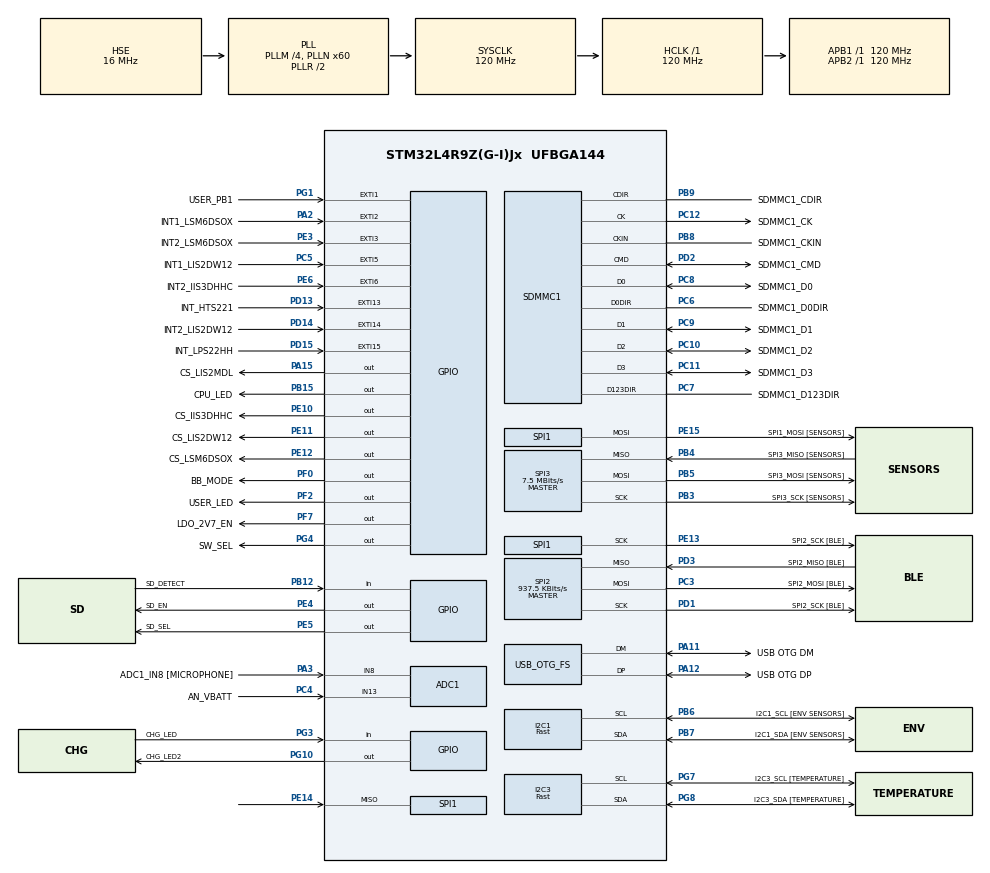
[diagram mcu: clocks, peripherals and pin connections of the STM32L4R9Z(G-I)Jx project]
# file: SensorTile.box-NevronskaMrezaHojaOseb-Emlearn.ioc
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ADC1.Channel-0\#ChannelRegularConversion=ADC_CHANNEL_8
ADC1.ContinuousConvMode=ENABLE
ADC1.EnableInjectedConversion=ENABLE
ADC1.NbrOfConversion=1
ADC1.NbrOfConversionFlag=1
ADC1.OffsetNumber-0\#ChannelRegularConversion=ADC_OFFSET_NONE
ADC1.Overrun=ADC_OVR_DATA_OVERWRITTEN
ADC1.OversamplingMode=DISABLE
ADC1.Rank-0\#ChannelRegularConversion=1
ADC1.SamplingTime-0\#ChannelRegularConversion=ADC_SAMPLETIME_12CYCLES_5
ADC1.master=1
DFSDM1.DmaMode_reg_FIL0=ENABLE
DFSDM1.FastMode_reg_FIL0=ENABLE
DFSDM1.Filter_injChannel0_FIL0=__NULL
DFSDM1.Filter_regChannel_FIL0=DFSDM_CHANNEL_0
DFSDM1.Fosr_FIL0=192
DFSDM1.Multiplexer_internal_CH0=DFSDM_CHANNEL_ADC_OUTPUT
DFSDM1.RightBitShift_CH0=7
DFSDM1.SincOrder_FIL0=DFSDM_FILTER_SINC2_ORDER
Dma.DFSDM1_FLT0.0.Direction=DMA_PERIPH_TO_MEMORY
Dma.DFSDM1_FLT0.0.EventEnable=DISABLE
Dma.DFSDM1_FLT0.0.Instance=DMA1_Channel4
Dma.DFSDM1_FLT0.0.MemDataAlignment=DMA_MDATAALIGN_WORD
Dma.DFSDM1_FLT0.0.MemInc=DMA_MINC_ENABLE
Dma.DFSDM1_FLT0.0.Mode=DMA_CIRCULAR
Dma.DFSDM1_FLT0.0.PeriphDataAlignment=DMA_PDATAALIGN_WORD
Dma.DFSDM1_FLT0.0.PeriphInc=DMA_PINC_DISABLE
Dma.DFSDM1_FLT0.0.Polarity=HAL_DMAMUX_REQUEST_GEN_RISING
Dma.DFSDM1_FLT0.0.Priority=DMA_PRIORITY_HIGH
Dma.DFSDM1_FLT0.0.RequestNumber=1
Dma.DFSDM1_FLT0.0.SignalID=NONE
Dma.DFSDM1_FLT0.0.SyncEnable=DISABLE
Dma.DFSDM1_FLT0.0.SyncPolarity=HAL_DMAMUX_SYNC_NO_EVENT
Dma.DFSDM1_FLT0.0.SyncRequestNumber=1
Dma.DFSDM1_FLT0.0.SyncSignalID=NONE
Dma.Request0=DFSDM1_FLT0
FATFS.BSP.number=1
FATFS.USE_DMA_CODE_SD=1
FATFS._FS_NORTC=0
FATFS._USE_LFN=3
FATFS0.BSP.STBoard=false
FATFS0.BSP.api=Unknown
FATFS0.BSP.instance=PB12
FATFS0.BSP.ip=GPIO
FATFS0.BSP.mode=Input
FATFS0.BSP.name=Detect_SDIO
FATFS0.BSP.solution=PB12
I2C1.I2C_Speed_Mode=I2C_Fast
I2C1.Timing=0x00B03FDB
I2C3.I2C_Speed_Mode=I2C_Fast
I2C3.Timing=0x00B03FDB
Mcu.Family=STM32L4
Mcu.Name=STM32L4R9Z(G-I)Jx
Mcu.Package=UFBGA144
NVIC.DMA1_Channel4_IRQn=true\:0\:0\:false\:false\:true\:false\:true\:true
NVIC.OTG_FS_IRQn=true\:0\:0\:false\:false\:true\:false\:true\:true
NVIC.PriorityGroup=NVIC_PRIORITYGROUP_4
NVIC.SDMMC1_IRQn=true\:0\:0\:false\:false\:true\:true\:true\:true
NVIC.TIM6_DAC_IRQn=true\:0\:0\:false\:false\:true\:true\:true\:true
PA11.GPIO_Label=USB OTG DM
PA11.Mode=Device_Only
PA11.Signal=USB_OTG_FS_DM
PA12.GPIO_Label=USB OTG DP
PA12.Mode=Device_Only
PA12.Signal=USB_OTG_FS_DP
PA15\ (JTDI).GPIO_Label=CS_LIS2MDL
PA15\ (JTDI).GPIO_ModeDefaultOutputPP=GPIO_MODE_OUTPUT_OD
PA15\ (JTDI).GPIO_Speed=GPIO_SPEED_FREQ_VERY_HIGH
PA15\ (JTDI).PinState=GPIO_PIN_SET
PA15\ (JTDI).Signal=GPIO_Output
PA2.GPIO_Label=INT1_LSM6DSOX
PA2.Signal=GPXTI2
PA3.GPIO_Label=ADC1_IN8 [MICROPHONE]
PA3.Signal=ADCx_IN8
PB12.GPIO_Label=SD_DETECT
PB12.Signal=GPIO_Input
PB15.GPIO_Label=CPU_LED
PB15.Signal=GPIO_Output
PB3\ (JTDO/TRACESWO).GPIO_Label=SPI3_SCK [SENSORS]
PB3\ (JTDO/TRACESWO).GPIO_PuPd=GPIO_PULLUP
PB3\ (JTDO/TRACESWO).Mode=Full_Duplex_Master
PB3\ (JTDO/TRACESWO).Signal=SPI3_SCK
PB4\ (NJTRST).GPIO_Label=SPI3_MISO [SENSORS]
PB4\ (NJTRST).Mode=Full_Duplex_Master
PB4\ (NJTRST).Signal=SPI3_MISO
PB5.GPIO_Label=SPI3_MOSI [SENSORS]
PB5.Mode=Full_Duplex_Master
PB5.Signal=SPI3_MOSI
PB6.GPIO_Label=I2C1_SCL [ENV SENSORS]
PB6.GPIO_Pu=GPIO_PULLUP
PB6.Mode=I2C
PB6.Signal=I2C1_SCL
PB7.GPIO_Label=I2C1_SDA [ENV SENSORS]
PB7.GPIO_Pu=GPIO_PULLUP
PB7.Mode=I2C
PB7.Signal=I2C1_SDA
PB8.GPIO_Label=SDMMC1_CKIN
PB8.Mode=SD_4_bits_Wide_bus_dir_voltage_converter
PB8.Signal=SDMMC1_CKIN
PB9.GPIO_Label=SDMMC1_CDIR
PB9.Mode=SD_4_bits_Wide_bus_dir_voltage_converter
PB9.Signal=SDMMC1_CDIR
PC10.GPIO_Label=SDMMC1_D2
PC10.Mode=SD_4_bits_Wide_bus_dir_voltage_converter
PC10.Signal=SDMMC1_D2
PC11.GPIO_Label=SDMMC1_D3
PC11.Mode=SD_4_bits_Wide_bus_dir_voltage_converter
PC11.Signal=SDMMC1_D3
PC12.GPIO_Label=SDMMC1_CK
PC12.Mode=SD_4_bits_Wide_bus_dir_voltage_converter
PC12.Signal=SDMMC1_CK
PC14-OSC32_IN\ (PC14).GPIO_Label=RCC_OSC32_IN
PC14-OSC32_IN\ (PC14).Mode=LSE-External-Oscillator
PC14-OSC32_IN\ (PC14).Signal=RCC_OSC32_IN
PC15-OSC32_OUT\ (PC15).GPIO_Label=RCC-OSC32_OUT
PC15-OSC32_OUT\ (PC15).Mode=LSE-External-Oscillator
PC15-OSC32_OUT\ (PC15).Signal=RCC_OSC32_OUT
PC3.GPIO_Label=SPI2_MOSI [BLE]
PC3.Mode=Full_Duplex_Master
PC3.Signal=SPI2_MOSI
PC4.GPIO_Label=AN_VBATT
PC4.Signal=ADCx_IN13
PC5.GPIO_Label=INT1_LIS2DW12
PC5.Signal=GPXTI5
PC6.GPIO_Label=SDMMC1_D0DIR
PC6.Mode=SD_4_bits_Wide_bus_dir_voltage_converter
PC6.Signal=SDMMC1_D0DIR
PC7.GPIO_Label=SDMMC1_D123DIR
PC7.Mode=SD_4_bits_Wide_bus_dir_voltage_converter
PC7.Signal=SDMMC1_D123DIR
PC8.GPIO_Label=SDMMC1_D0
PC8.Mode=SD_4_bits_Wide_bus_dir_voltage_converter
PC8.Signal=SDMMC1_D0
PC9.GPIO_Label=SDMMC1_D1
PC9.Mode=SD_4_bits_Wide_bus_dir_voltage_converter
PC9.Signal=SDMMC1_D1
PD1.GPIO_Label=SPI2_SCK [BLE]
PD1.Mode=Full_Duplex_Master
PD1.Signal=SPI2_SCK
PD13.GPIO_Label=INT_HTS221
PD13.Signal=GPXTI13
PD14.GPIO_Label=INT2_LIS2DW12
PD14.Signal=GPXTI14
PD15.GPIO_Label=INT_LPS22HH
PD15.Signal=GPXTI15
PD2.GPIO_Label=SDMMC1_CMD
PD2.Mode=SD_4_bits_Wide_bus_dir_voltage_converter
PD2.Signal=SDMMC1_CMD
PD3.GPIO_Label=SPI2_MISO [BLE]
PD3.Mode=Full_Duplex_Master
PD3.Signal=SPI2_MISO
PD5.GPIO_Label=USART2_TX [SERIAL PORT]
PD5.Signal=USART2_TX
PD6.GPIO_Label=USART2_RX [SERIAL PORT]
PD6.Signal=USART2_RX
PE10.GPIO_Label=CS_IIS3DHHC
PE10.GPIO_ModeDefaultOutputPP=GPIO_MODE_OUTPUT_OD
PE10.GPIO_Speed=GPIO_SPEED_FREQ_VERY_HIGH
PE10.PinState=GPIO_PIN_SET
PE10.Signal=GPIO_Output
PE11.GPIO_Label=CS_LIS2DW12
PE11.GPIO_ModeDefaultOutputPP=GPIO_MODE_OUTPUT_OD
PE11.GPIO_Speed=GPIO_SPEED_FREQ_VERY_HIGH
PE11.PinState=GPIO_PIN_SET
PE11.Signal=GPIO_Output
PE12.GPIO_Label=CS_LSM6DSOX
PE12.GPIO_ModeDefaultOutputPP=GPIO_MODE_OUTPUT_OD
PE12.GPIO_Speed=GPIO_SPEED_FREQ_VERY_HIGH
PE12.PinState=GPIO_PIN_SET
PE12.Signal=GPIO_Output
PE13.GPIO_Label=SPI2_SCK [BLE]
PE13.GPIO_PuPd=GPIO_PULLUP
PE13.Mode=Full_Duplex_Master
PE13.Signal=SPI1_SCK
PE14.Mode=Full_Duplex_Master
PE14.Signal=SPI1_MISO
PE15.GPIO_Label=SPI1_MOSI [SENSORS]
PE15.Mode=Full_Duplex_Master
PE15.Signal=SPI1_MOSI
PE3.GPIO_Label=INT2_LSM6DSOX
PE3.Signal=GPXTI3
PE4.GPIO_Label=SD_EN
PE4.PinState=GPIO_PIN_SET
PE4.Signal=GPIO_Output
PE5.GPIO_Label=SD_SEL
PE5.PinState=GPIO_PIN_SET
PE5.Signal=GPIO_Output
PE6.GPIO_Label=INT2_IIS3DHHC
PE6.Signal=GPXTI6
PF0.GPIO_Label=BB_MODE
PF0.PinState=GPIO_PIN_RESET
PF0.Signal=GPIO_Output
PF2.GPIO_Label=USER_LED
PF2.GPIO_ModeDefaultOutputPP=GPIO_MODE_OUTPUT_PP
PF2.Signal=GPIO_Output
PF7.GPIO_Label=LDO_2V7_EN
PF7.PinState=GPIO_PIN_SET
PF7.Signal=GPIO_Output
PG1.GPIO_Label=USER_PB1
PG1.GPIO_ModeDefaultEXTI=GPIO_MODE_IT_FALLING
PG1.Signal=GPXTI1
PG10.GPIO_Label=CHG_LED2
PG10.PinState=GPIO_PIN_SET
PG10.Signal=GPIO_Output
PG3.GPIO_Label=CHG_LED
PG3.Signal=GPIO_Input
PG4.GPIO_Label=SW_SEL
PG4.Signal=GPIO_Output
PG7.GPIO_Label=I2C3_SCL [TEMPERATURE]
PG7.GPIO_Pu=GPIO_PULLUP
PG7.Mode=I2C
PG7.Signal=I2C3_SCL
PG8.GPIO_Label=I2C3_SDA [TEMPERATURE]
PG8.GPIO_Pu=GPIO_PULLUP
PG8.Mode=I2C
PG8.Signal=I2C3_SDA
PH0-OSC_IN\ (PH0).GPIO_Label=RCC_OSC_IN
PH0-OSC_IN\ (PH0).Mode=HSE-External-Oscillator
PH0-OSC_IN\ (PH0).Signal=RCC_OSC_IN
PH1-OSC_OUT\ (PH1).GPIO_Label=RCC_OSC_OUT
PH1-OSC_OUT\ (PH1).Mode=HSE-External-Oscillator
PH1-OSC_OUT\ (PH1).Signal=RCC_OSC_OUT
ProjectManager.HeapSize=0x200
ProjectManager.StackSize=0x400
ProjectManager.TargetToolchain=STM32CubeIDE
RCC.ADCFreq_Value=76800000
RCC.AHBFreq_Value=120000000
RCC.APB1Freq_Value=120000000
RCC.APB1TimFreq_Value=120000000
RCC.APB2Freq_Value=120000000
RCC.APB2TimFreq_Value=120000000
RCC.CK48CLockSelection=RCC_USBCLKSOURCE_HSI48
RCC.CortexFreq_Value=120000000
RCC.HCLKFreq_Value=120000000
RCC.HSE_VALUE=16000000
RCC.HSI48_VALUE=48000000
RCC.HSI_VALUE=16000000
RCC.MSI_VALUE=4000000
RCC.PLLM1=4
RCC.PLLM2=5
RCC.PLLN=60
RCC.PLLP=RCC_PLLP_DIV5
RCC.PLLSAI1N=96
RCC.PLLSAI1Q=RCC_PLLQ_DIV4
RCC.PLLSAI1R=RCC_PLLR_DIV4
RCC.PLLSourceVirtual=RCC_PLLSOURCE_HSE
RCC.RTCClockSelection=RCC_RTCCLKSOURCE_LSE
RCC.SYSCLKFreq_VALUE=120000000
RCC.SYSCLKSource=RCC_SYSCLKSOURCE_PLLCLK
RCC.USBFreq_Value=48000000
RCC.VCOOutputFreq_Value=240000000
RTC.Date=3
RTC.Format=RTC_FORMAT_BIN
RTC.Month=RTC_MONTH_APRIL
RTC.WeekDay=RTC_WEEKDAY_TUESDAY
RTC.Year=20
SH.ADCx_IN13.0=ADC1_IN13,IN13-Single-Ended
SH.ADCx_IN8.0=ADC1_IN8,IN8-Single-Ended
SPI1.BaudRatePrescaler=SPI_BAUDRATEPRESCALER_16
SPI1.CLKPhase=SPI_PHASE_2EDGE
SPI1.CLKPolarity=SPI_POLARITY_HIGH
SPI1.CalculateBaudRate=7.5 MBits/s
SPI1.DataSize=SPI_DATASIZE_8BIT
SPI1.Direction=SPI_DIRECTION_2LINES
SPI1.Mode=SPI_MODE_MASTER
SPI1.VirtualType=VM_MASTER
SPI2.BaudRatePrescaler=SPI_BAUDRATEPRESCALER_128
SPI2.CLKPhase=SPI_PHASE_2EDGE
SPI2.CalculateBaudRate=937.5 KBits/s
SPI2.DataSize=SPI_DATASIZE_8BIT
SPI2.Direction=SPI_DIRECTION_2LINES
SPI2.Mode=SPI_MODE_MASTER
SPI2.VirtualType=VM_MASTER
SPI3.BaudRatePrescaler=SPI_BAUDRATEPRESCALER_16
SPI3.CLKPhase=SPI_PHASE_2EDGE
SPI3.CLKPolarity=SPI_POLARITY_HIGH
SPI3.CalculateBaudRate=7.5 MBits/s
SPI3.DataSize=SPI_DATASIZE_8BIT
SPI3.Direction=SPI_DIRECTION_2LINES
SPI3.Mode=SPI_MODE_MASTER
SPI3.VirtualType=VM_MASTER
TIM2.Period=0xFFFFFFFF
TIM2.Prescaler=119
TIM6.Period=1000
TIM6.Prescaler=119
TIM7.Period=0xFFFF
TIM7.Prescaler=119
USB_DEVICE.CLASS_NAME_FS=CDC
USB_DEVICE.VirtualMode=Cdc
USB_DEVICE.VirtualModeFS=Cdc_FS
USB_OTG_FS.VirtualMode=Device_Only
USB_OTG_FS.battery_charging_enable=ENABLE
USB_OTG_FS.use_dedicated_ep1=DISABLE
VP_DFSDM1_VS_IN0.Mode=Parallel_Input_ch0
VP_FATFS_VS_SDIO.Mode=SDIO
VP_RTC_VS_RTC_Activate.Mode=RTC_Enabled
VP_RTC_VS_RTC_Calendar.Mode=RTC_Calendar
VP_TIM2_VS_ClockSourceINT.Mode=Internal
VP_TIM6_VS_ClockSourceINT.Mode=Enable_Timer
VP_TIM7_VS_ClockSourceINT.Mode=Enable_Timer
VP_USB_DEVICE_VS_USB_DEVICE_CDC_FS.Mode=CDC_FS
board=STEVAL-MKSBOX1V1

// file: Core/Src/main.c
/* USER CODE BEGIN Header */
/**
  ******************************************************************************
  * @file           : main.c
  * @brief          : Main program body
  ******************************************************************************
  * @attention
  *
  * Copyright (c) 2023 STMicroelectronics.
  * All rights reserved.
  *
  * This software is licensed under terms that can be found in the LICENSE file
  * in the root directory of this software component.
  * If no LICENSE file comes with this software, it is provided AS-IS.
  *
  ******************************************************************************
  */
/* USER CODE END Header */
#include "main.h"
#include "fatfs.h"
#include "usb_device.h"

/* USER CODE BEGIN Includes */
#include "nevronskaMreza_HojaOseb.h"

#include "math.h"
#include "fatfs.h"
#include "ff.h"

#define BUFSIZE 256
char	SendBuffer[BUFSIZE];

uint8_t windowLength = 104;
uint8_t windowOverlap = 52;

float bufAccX[104];
float bufAccY[104];
float bufAccZ[104];
float bufAccMagnitude[104];

float accX_Mean;
float accX_STD;
float accX_MinMax;
float accX_RMS;
float accY_Mean;
float accY_STD;
float accY_MinMax;
float accY_RMS;
float accZ_Mean;
float accZ_STD;
float accZ_MinMax;
float accZ_RMS;
float accMagnitude_Mean;
float accMagnitude_STD;
float accMagnitude_MinMax;
float accMagnitude_RMS;

int buf_len = 0;

#define LSM6DSOX_ACC_SENSITIVITY_FS_4G   0.122f
//#define LSM6DSOX_ACC_SENSITIVITY_FS_2G   0.061f

	  uint8_t indata[2];
	  uint8_t outdata[2] = {0,0};
	  uint8_t lis_id;
	  uint8_t newValueAvailable = 0;

	  uint8_t AccelX1;
	  uint8_t AccelY1;
	  uint8_t AccelZ1;
	  uint8_t AccelX2;
	  uint8_t AccelY2;
	  uint8_t AccelZ2;

	  const char* classes[5] = {
	  			  "jaz", "mami", "mirovanje", "sestra", "vati"
	  	  };

	  FRESULT res; /* FatFs function common result code */
	  	  uint32_t byteswritten, bytesread; /* File write/read counts */
	  	  uint8_t wtext[BUFSIZE] = "Podatki: \r\n"; /* File write buffer */
	  	  uint8_t rtext[_MAX_SS];/* File read buffer */

	  	  char errorValue[20] = "Ni problema";
	  	  uint8_t countOutput = 0;

float accMagnitude(float accX, float accY, float accZ);
/* USER CODE END Includes */

ADC_HandleTypeDef hadc1;

DFSDM_Filter_HandleTypeDef hdfsdm1_filter0;
DFSDM_Channel_HandleTypeDef hdfsdm1_channel0;
DMA_HandleTypeDef hdma_dfsdm1_flt0;

I2C_HandleTypeDef hi2c1;
I2C_HandleTypeDef hi2c3;

RTC_HandleTypeDef hrtc;

SD_HandleTypeDef hsd1;

SPI_HandleTypeDef hspi1;
SPI_HandleTypeDef hspi2;
SPI_HandleTypeDef hspi3;

TIM_HandleTypeDef htim2;
TIM_HandleTypeDef htim6;
TIM_HandleTypeDef htim7;

void SystemClock_Config(void);
static void MX_GPIO_Init(void);
static void MX_DMA_Init(void);
static void MX_ADC1_Init(void);
static void MX_DFSDM1_Init(void);
static void MX_I2C1_Init(void);
static void MX_I2C3_Init(void);
static void MX_RTC_Init(void);
static void MX_SDMMC1_SD_Init(void);
static void MX_SPI1_Init(void);
static void MX_SPI2_Init(void);
static void MX_SPI3_Init(void);
static void MX_TIM2_Init(void);
static void MX_TIM6_Init(void);
static void MX_TIM7_Init(void);

int main(void)
{

  /* MCU Configuration--------------------------------------------------------*/

  /* Reset of all peripherals, Initializes the Flash interface and the Systick. */
  HAL_Init();

  /* Configure the system clock */
  SystemClock_Config();

  /* Initialize all configured peripherals */
  MX_GPIO_Init();
  MX_DMA_Init();
  MX_ADC1_Init();
  MX_DFSDM1_Init();
  MX_I2C1_Init();
  MX_I2C3_Init();
  MX_RTC_Init();
  MX_SDMMC1_SD_Init();
  MX_SPI1_Init();
  MX_SPI2_Init();
  MX_SPI3_Init();
  MX_TIM2_Init();
  MX_TIM6_Init();
  MX_TIM7_Init();
  MX_FATFS_Init();
  MX_USB_DEVICE_Init();

  /* Infinite loop */
  /* USER CODE BEGIN WHILE */

  // sensor setup (activation and setting frequency)
  		    HAL_GPIO_WritePin(GPIOE, GPIO_PIN_12, GPIO_PIN_RESET);

  		    outdata[0] = 0x10 ; // register used for setting up the accelerometer
  		    outdata[1] = 0x48 ;//0x4a ;//0x40 ; // set frequency to 104Hz and FS to 4g
  		    HAL_SPI_TransmitReceive(&hspi1, &outdata, &indata, 2, HAL_MAX_DELAY);

  		    HAL_GPIO_WritePin(GPIOE, GPIO_PIN_12, GPIO_PIN_SET);

  		    outdata[0] = 0x15 | 0x80 ; // read CTRL6_C
  		    HAL_GPIO_WritePin(GPIOE, GPIO_PIN_12, GPIO_PIN_RESET);
  		    HAL_SPI_TransmitReceive(&hspi1, &outdata, &indata, 2, HAL_MAX_DELAY);
  		    uint8_t existingValue = indata[1];
  		    HAL_GPIO_WritePin(GPIOE, GPIO_PIN_12, GPIO_PIN_SET);

  		    HAL_GPIO_WritePin(GPIOE, GPIO_PIN_12, GPIO_PIN_RESET);
  		    outdata[0] = 0x15 ; // write to register CTRL6_C
  		    outdata[1] = existingValue | 0x10 ; //disable high performance
  		    HAL_SPI_TransmitReceive(&hspi1, &outdata, &indata, 2, HAL_MAX_DELAY);
  		    HAL_GPIO_WritePin(GPIOE, GPIO_PIN_12, GPIO_PIN_SET);

  		    ///////////////////////////////////////////////////////////////////SD card
  		    if(f_mount(&SDFatFS, (TCHAR const*)SDPath, 0) != FR_OK)
  		    {
  		    	//Error_Handler();
  		    	snprintf(SendBuffer,BUFSIZE,"Error1 \r\n");
  		    	CDC_Transmit_FS(SendBuffer,strlen(SendBuffer));
  		    	strcpy(errorValue, "Error1 \r\n");
  		    }
  		    else
  		    {
  		    	if(f_mkfs((TCHAR const*)SDPath, FM_ANY, 0, rtext, sizeof(rtext)) != FR_OK)
  		        {
  		    		//Error_Handler();
  		    		snprintf(SendBuffer,BUFSIZE,"Error2 \r\n");
  		    		CDC_Transmit_FS(SendBuffer,strlen(SendBuffer));

  		    		FRESULT errorState = f_mkfs((TCHAR const*)SDPath, FM_ANY, 0, rtext, sizeof(rtext));

  		    		//strcpy(errorValue, "Error2 \r\n");
  		    		snprintf(errorValue, 20, "Error2 [%d]\r\n", errorState);
  		        }
  		    	else
  		    	{
  		    		//Open file for writing (Create)
  		    		if(f_open(&SDFile, "Podatki.TXT", FA_CREATE_ALWAYS | FA_WRITE) != FR_OK)
  		    		{
  		    			//Error_Handler();
  		    			snprintf(SendBuffer,BUFSIZE,"Error3 \r\n");
  		    			CDC_Transmit_FS(SendBuffer,strlen(SendBuffer));
  		    			strcpy(errorValue, "Error3 \r\n");
  		    		}
  		    		else
  		    		{

  		    			//Write to the text file
  		    			res = f_write(&SDFile, wtext, strlen((char *)wtext), (void *)&byteswritten);
  		    			if((byteswritten == 0) || (res != FR_OK))
  		    			{
  		    				//Error_Handler();
  		    				snprintf(SendBuffer,BUFSIZE,"Error4 \r\n");
  		    				CDC_Transmit_FS(SendBuffer,strlen(SendBuffer));
  		    				strcpy(errorValue, "Error4 \r\n");
  		    			}
  		    			else
  		    			{

  		    				f_close(&SDFile);
  		    			}
  		    		}
  		    	}
  		    }
  		    //f_mount(&SDFatFS, (TCHAR const*)NULL, 0);

  		    f_mount(&SDFatFS, (TCHAR const*)SDPath, 0);
  		    //f_open(&SDFile, "Podatki.TXT", FA_OPEN_APPEND | FA_WRITE);
  		    ///////////////////////////////////////////////////////////////////

  while (1)
  {
	  while(buf_len < windowLength) {
	  		HAL_GPIO_WritePin(GPIOE, GPIO_PIN_12, GPIO_PIN_RESET);
	  		outdata[0] = 0x1e | 0x80 ; // read status register if there is new accelerometer data
	  		HAL_SPI_TransmitReceive(&hspi1, &outdata, &indata, 2, HAL_MAX_DELAY);
	  		newValueAvailable = indata[1] & 0b1; //only accelerometer state
	  		HAL_GPIO_WritePin(GPIOE, GPIO_PIN_12, GPIO_PIN_SET);

	  		if(newValueAvailable == 1) {

	  			buf_len++;

	  			newValueAvailable = 0;

	  			//////////////////////////////////////////Read accelerometer measurements
	  			outdata[0] = 0x29 | 0x80 ; // read x, high
	  			HAL_GPIO_WritePin(GPIOE, GPIO_PIN_12, GPIO_PIN_RESET);
	  			HAL_SPI_TransmitReceive(&hspi1, &outdata, &indata, 2, HAL_MAX_DELAY);
	  			AccelX1 = indata[1];
	  			HAL_GPIO_WritePin(GPIOE, GPIO_PIN_12, GPIO_PIN_SET);
	  			outdata[0] = 0x28 | 0x80 ; // read x, low
	  			HAL_GPIO_WritePin(GPIOE, GPIO_PIN_12, GPIO_PIN_RESET);
	  			HAL_SPI_TransmitReceive(&hspi1, &outdata, &indata, 2, HAL_MAX_DELAY);
	  			AccelX2 = indata[1];
	  			HAL_GPIO_WritePin(GPIOE, GPIO_PIN_12, GPIO_PIN_SET);

	  			HAL_GPIO_WritePin(GPIOE, GPIO_PIN_12, GPIO_PIN_RESET);
	  			outdata[0] = 0x2b | 0x80 ; // read y, 0x53
	  			HAL_SPI_TransmitReceive(&hspi1, &outdata, &indata, 2, HAL_MAX_DELAY);
	  			AccelY1 = indata[1];
	  			HAL_GPIO_WritePin(GPIOE, GPIO_PIN_12, GPIO_PIN_SET);
	  			outdata[0] = 0x2a | 0x80 ; // read y, low
	  			HAL_GPIO_WritePin(GPIOE, GPIO_PIN_12, GPIO_PIN_RESET);
	  			HAL_SPI_TransmitReceive(&hspi1, &outdata, &indata, 2, HAL_MAX_DELAY);
	  			AccelY2 = indata[1];
	  			HAL_GPIO_WritePin(GPIOE, GPIO_PIN_12, GPIO_PIN_SET);

	  			HAL_GPIO_WritePin(GPIOE, GPIO_PIN_12, GPIO_PIN_RESET);
	  			outdata[0] = 0x2d | 0x80 ; // read z, 0x55
	  			HAL_SPI_TransmitReceive(&hspi1, &outdata, &indata, 2, HAL_MAX_DELAY);
	  			AccelZ1 = indata[1];
	  			HAL_GPIO_WritePin(GPIOE, GPIO_PIN_12, GPIO_PIN_SET);
	  			outdata[0] = 0x2c | 0x80 ; // read z, low
	  			HAL_GPIO_WritePin(GPIOE, GPIO_PIN_12, GPIO_PIN_RESET);
	  			HAL_SPI_TransmitReceive(&hspi1, &outdata, &indata, 2, HAL_MAX_DELAY);
	  			AccelZ2 = indata[1];
	  			HAL_GPIO_WritePin(GPIOE, GPIO_PIN_12, GPIO_PIN_SET);

	  			//Calculation to get measurements in the unit mG and with /1000 to G
	  			int16_t AccelX;
	  			int32_t AccelX_mg;
	  			int16_t AccelY;
	  			int32_t AccelY_mg;
	  			int16_t AccelZ;
	  			int32_t AccelZ_mg;

	  			AccelX= ((int16_t)AccelX1 <<8 ) | AccelX2;
	  			AccelX_mg= (int32_t)((float)AccelX * LSM6DSOX_ACC_SENSITIVITY_FS_4G);
	  			AccelY= ((int16_t)AccelY1 <<8 ) | AccelY2;
	  			AccelY_mg= (int32_t)((float)AccelY * LSM6DSOX_ACC_SENSITIVITY_FS_4G);
	  			AccelZ= ((int16_t)AccelZ1 <<8 ) | AccelZ2;
	  			AccelZ_mg= (int32_t)((float)AccelZ * LSM6DSOX_ACC_SENSITIVITY_FS_4G);

	  			float AccelX_inG = AccelX_mg * 0.001f;
	  			float AccelY_inG = AccelY_mg * 0.001f;
	  			float AccelZ_inG = AccelZ_mg * 0.001f;

	  			bufAccX[buf_len - 1] = AccelX_inG;
	  			bufAccY[buf_len - 1] = AccelY_inG;
	  			bufAccZ[buf_len - 1] = AccelZ_inG;

	  			bufAccMagnitude[buf_len - 1] = accMagnitude(AccelX_inG, AccelY_inG, AccelZ_inG);

	  		}
	  	}

	  	if(buf_len == windowLength) {
	  		buf_len = windowOverlap;

	  		accX_Mean = 0;
	  		accX_STD = 0;
	  		accX_MinMax = 0;
	  		accX_RMS = 0;

	  		accY_Mean = 0;
	  		accY_STD = 0;
	  		accY_MinMax = 0;
	  		accY_RMS = 0;

	  		accZ_Mean = 0;
	  		accZ_STD = 0;
	  		accZ_MinMax = 0;
	  		accZ_RMS = 0;

	  		accMagnitude_Mean = 0;
	  		accMagnitude_STD = 0;
	  		accMagnitude_MinMax = 0;
	  		accMagnitude_RMS = 0;

	  		float minX = bufAccX[0];
	  		float maxX = bufAccX[0];
	  		float minY = bufAccY[0];
	  		float maxY = bufAccY[0];
	  		float minZ = bufAccZ[0];
	  		float maxZ = bufAccZ[0];
	  		float minMagnitude = bufAccMagnitude[0];
	  		float maxMagnitude = bufAccMagnitude[0];

	  		for (int i = 0; i < windowLength; i++) {

	  			accX_Mean += bufAccX[i];
	  			if(minX > bufAccX[i])
	  				minX = bufAccX[i];
	  			if(maxX < bufAccX[i])
	  				maxX = bufAccX[i];
	  			accX_RMS += pow(bufAccX[i], 2);

	  			accY_Mean += bufAccY[i];
	  			if(minY > bufAccY[i])
	  				minY = bufAccY[i];
	  			if(maxY < bufAccY[i])
	  				maxY = bufAccY[i];
	  			accY_RMS += pow(bufAccY[i], 2);

	  			accZ_Mean += bufAccZ[i];
	  			if(minZ > bufAccZ[i])
	  				minZ = bufAccZ[i];
	  			if(maxZ < bufAccZ[i])
	  				maxZ = bufAccZ[i];
	  			accZ_RMS += pow(bufAccZ[i], 2);

	  			accMagnitude_Mean += bufAccMagnitude[i];
	  			if(minMagnitude > bufAccMagnitude[i])
	  				minMagnitude = bufAccMagnitude[i];
	  			if(maxMagnitude < bufAccMagnitude[i])
	  				maxMagnitude = bufAccMagnitude[i];
	  			accMagnitude_RMS += pow(bufAccMagnitude[i], 2);

	  		}

	  		accX_Mean /= windowLength;
	  		accX_MinMax = maxX - minX;
	  		accX_RMS = sqrt(accX_RMS/windowLength);

	  		accY_Mean /= windowLength;
	  		accY_MinMax = maxY - minY;
	  		accY_RMS = sqrt(accY_RMS/windowLength);

	  		accZ_Mean /= windowLength;
	  		accZ_MinMax = maxZ - minZ;
	  		accZ_RMS = sqrt(accZ_RMS/windowLength);

	  		accMagnitude_Mean /= windowLength;
	  		accMagnitude_MinMax = maxMagnitude - minMagnitude;
	  		accMagnitude_RMS = sqrt(accMagnitude_RMS/windowLength);

	  		for (int i = 0; i < windowLength; i++) {
	  			accX_STD += pow(bufAccX[i] - accX_Mean, 2);
	  			accY_STD += pow(bufAccY[i] - accY_Mean, 2);
	  			accZ_STD += pow(bufAccZ[i] - accZ_Mean, 2);
	  			accMagnitude_STD += pow(bufAccMagnitude[i] - accMagnitude_Mean, 2);
	  		}

	  		accX_STD = sqrt(accX_STD / windowLength);
	  		accY_STD = sqrt(accY_STD / windowLength);
	  		accZ_STD = sqrt(accZ_STD / windowLength);
	  		accMagnitude_STD = sqrt(accMagnitude_STD / windowLength);

	  		//Replace first half of buffers with their second half
	  		for (int i = 0; i < windowOverlap; i++) {
	  			bufAccX[i] = bufAccX[i + windowOverlap];
	  			bufAccY[i] = bufAccY[i + windowOverlap];
	  			bufAccZ[i] = bufAccZ[i + windowOverlap];
	  			bufAccMagnitude[i] = bufAccMagnitude[i + windowOverlap];
	  		}

	  		accX_Mean = (accX_Mean - (-0.7925340396583439)) * 2.0949933205020708;
	  		accX_STD = (accX_STD - 0.25463438722461235) * 5.929210562633304;
	  		accX_MinMax = (accX_MinMax - 1.2237432034064877) * 1.1805004714159546;
	  		accX_RMS = (accX_RMS - 0.9080303069938368) * 2.8316304285664726;

	  		accY_Mean = (accY_Mean - (-0.043692102975635576)) * 3.7465012332289103;
	  		accY_STD = (accY_STD - 0.2380924561831248) * 6.581672613424032;
	  		accY_MinMax = (accY_MinMax - 1.2170445463478536) * 1.2546657227425297;
	  		accY_RMS = (accY_RMS - 0.3188075751411812) * 4.415641148049384;

	  		accZ_Mean = (accZ_Mean - 0.0036754295900627365) * 3.7391857781655413;
	  		accZ_STD = (accZ_STD - 0.23952607306415402) * 7.479754757980447;
	  		accZ_MinMax = (accZ_MinMax - 1.2980415984277747) * 1.313726772069218;
	  		accZ_RMS = (accZ_RMS - 0.3156636494289826) * 4.60580702527008;

	  		accMagnitude_Mean = (accMagnitude_Mean - 1.0669456527929735) * 15.930676904057798;
	  		accMagnitude_STD = (accMagnitude_STD - 0.2766352751305663) * 5.763399986208959;
	  		accMagnitude_MinMax = (accMagnitude_MinMax - 1.3165988949163936) * 1.1621726084324315;
	  		accMagnitude_RMS = (accMagnitude_RMS - 1.1134635041015108) * 10.457188751844905;

	  		/////////////////////////////////////Result

	  		const float features[] = { accX_Mean, accX_STD, accX_MinMax, accX_RMS, accY_Mean, accY_STD, accY_MinMax, accY_RMS,
	  								 accZ_Mean, accZ_STD, accZ_MinMax, accZ_RMS, accMagnitude_Mean, accMagnitude_STD, accMagnitude_MinMax, accMagnitude_RMS };
	  		int out = nevronskaMreza_HojaOseb_predict(features, 16); // Alternative A: "inline"
	  		if (out < 0) {
	  		    return out; // error
	  		} else {
	  			snprintf(SendBuffer,BUFSIZE,"Razred: %lu, %s \r\n", out, classes[out]);
	  			CDC_Transmit_FS(SendBuffer,strlen(SendBuffer));

	  			HAL_GPIO_WritePin(GPIOF, GPIO_PIN_2, GPIO_PIN_RESET);
	  			HAL_GPIO_WritePin(GPIOG, GPIO_PIN_10, GPIO_PIN_SET);
	  			HAL_GPIO_WritePin(GPIOB, GPIO_PIN_15, GPIO_PIN_RESET);

	  			switch(out)
	  				    {
	  				        case 0:
	  				        	HAL_GPIO_WritePin(GPIOF, GPIO_PIN_2, GPIO_PIN_SET);
	  				            break;
	  				        case 1:
	  				        	HAL_GPIO_WritePin(GPIOG, GPIO_PIN_10, GPIO_PIN_RESET);
	  				        	break;
	  				        case 2:
	  				        	HAL_GPIO_WritePin(GPIOB, GPIO_PIN_15, GPIO_PIN_SET);
	  				        	break;
	  				        case 3:
	  				        	HAL_GPIO_WritePin(GPIOF, GPIO_PIN_2, GPIO_PIN_SET);
	  				        	HAL_GPIO_WritePin(GPIOG, GPIO_PIN_10, GPIO_PIN_RESET);
	  				        	break;
	  				        case 4:
	  				        	HAL_GPIO_WritePin(GPIOB, GPIO_PIN_15, GPIO_PIN_SET);
	  				        	HAL_GPIO_WritePin(GPIOG, GPIO_PIN_10, GPIO_PIN_RESET);
	  				        	break;
	  				    }

	  			///////////////////////////////////////////////////////////////////SD card

	  			f_open(&SDFile, "Podatki.TXT", FA_OPEN_APPEND | FA_WRITE);
	  			f_lseek(&SDFile, f_size(&SDFile));

	  			strcpy(wtext, SendBuffer);

	  			res = f_write(&SDFile, wtext, strlen((char *)wtext), (void *)&byteswritten);

	  			f_close(&SDFile);

	  			///////////////////////////////////////////////////////////////////
	  		}
	  	}
    /* USER CODE END WHILE */

  }
}

void SystemClock_Config(void)
{
  RCC_OscInitTypeDef RCC_OscInitStruct = {0};
  RCC_ClkInitTypeDef RCC_ClkInitStruct = {0};

  /** Configure the main internal regulator output voltage
  */
  if (HAL_PWREx_ControlVoltageScaling(PWR_REGULATOR_VOLTAGE_SCALE1_BOOST) != HAL_OK)
  {
    Error_Handler();
  }

  /** Configure LSE Drive Capability
  */
  HAL_PWR_EnableBkUpAccess();
  __HAL_RCC_LSEDRIVE_CONFIG(RCC_LSEDRIVE_LOW);

  /** Initializes the RCC Oscillators according to the specified parameters
  * in the RCC_OscInitTypeDef structure.
  */
  RCC_OscInitStruct.OscillatorType = RCC_OSCILLATORTYPE_HSI48|RCC_OSCILLATORTYPE_HSE
                              |RCC_OSCILLATORTYPE_LSE;
  RCC_OscInitStruct.HSEState = RCC_HSE_ON;
  RCC_OscInitStruct.LSEState = RCC_LSE_ON;
  RCC_OscInitStruct.HSI48State = RCC_HSI48_ON;
  RCC_OscInitStruct.PLL.PLLState = RCC_PLL_ON;
  RCC_OscInitStruct.PLL.PLLSource = RCC_PLLSOURCE_HSE;
  RCC_OscInitStruct.PLL.PLLM = 4;
  RCC_OscInitStruct.PLL.PLLN = 60;
  RCC_OscInitStruct.PLL.PLLP = RCC_PLLP_DIV5;
  RCC_OscInitStruct.PLL.PLLQ = RCC_PLLQ_DIV2;
  RCC_OscInitStruct.PLL.PLLR = RCC_PLLR_DIV2;
  if (HAL_RCC_OscConfig(&RCC_OscInitStruct) != HAL_OK)
  {
    Error_Handler();
  }

  /** Initializes the CPU, AHB and APB buses clocks
  */
  RCC_ClkInitStruct.ClockType = RCC_CLOCKTYPE_HCLK|RCC_CLOCKTYPE_SYSCLK
                              |RCC_CLOCKTYPE_PCLK1|RCC_CLOCKTYPE_PCLK2;
  RCC_ClkInitStruct.SYSCLKSource = RCC_SYSCLKSOURCE_PLLCLK;
  RCC_ClkInitStruct.AHBCLKDivider = RCC_SYSCLK_DIV1;
  RCC_ClkInitStruct.APB1CLKDivider = RCC_HCLK_DIV1;
  RCC_ClkInitStruct.APB2CLKDivider = RCC_HCLK_DIV1;

  if (HAL_RCC_ClockConfig(&RCC_ClkInitStruct, FLASH_LATENCY_5) != HAL_OK)
  {
    Error_Handler();
  }
}

static void MX_ADC1_Init(void)
{

  ADC_ChannelConfTypeDef sConfig = {0};

  /** Common config
  */
  hadc1.Instance = ADC1;
  hadc1.Init.ClockPrescaler = ADC_CLOCK_ASYNC_DIV1;
  hadc1.Init.Resolution = ADC_RESOLUTION_12B;
  hadc1.Init.DataAlign = ADC_DATAALIGN_RIGHT;
  hadc1.Init.ScanConvMode = ADC_SCAN_DISABLE;
  hadc1.Init.EOCSelection = ADC_EOC_SINGLE_CONV;
  hadc1.Init.LowPowerAutoWait = DISABLE;
  hadc1.Init.ContinuousConvMode = ENABLE;
  hadc1.Init.NbrOfConversion = 1;
  hadc1.Init.DiscontinuousConvMode = DISABLE;
  hadc1.Init.ExternalTrigConv = ADC_SOFTWARE_START;
  hadc1.Init.ExternalTrigConvEdge = ADC_EXTERNALTRIGCONVEDGE_NONE;
  hadc1.Init.DMAContinuousRequests = DISABLE;
  hadc1.Init.Overrun = ADC_OVR_DATA_OVERWRITTEN;
  hadc1.Init.OversamplingMode = DISABLE;
  hadc1.Init.DFSDMConfig = ADC_DFSDM_MODE_ENABLE;
  if (HAL_ADC_Init(&hadc1) != HAL_OK)
  {
    Error_Handler();
  }

  /** Configure Regular Channel
  */
  sConfig.Channel = ADC_CHANNEL_8;
  sConfig.Rank = ADC_REGULAR_RANK_1;
  sConfig.SamplingTime = ADC_SAMPLETIME_12CYCLES_5;
  sConfig.SingleDiff = ADC_SINGLE_ENDED;
  sConfig.OffsetNumber = ADC_OFFSET_NONE;
  sConfig.Offset = 0;
  if (HAL_ADC_ConfigChannel(&hadc1, &sConfig) != HAL_OK)
  {
    Error_Handler();
  }

}

static void MX_DFSDM1_Init(void)
{

  hdfsdm1_filter0.Instance = DFSDM1_Filter0;
  hdfsdm1_filter0.Init.RegularParam.Trigger = DFSDM_FILTER_SW_TRIGGER;
  hdfsdm1_filter0.Init.RegularParam.FastMode = ENABLE;
  hdfsdm1_filter0.Init.RegularParam.DmaMode = ENABLE;
  hdfsdm1_filter0.Init.FilterParam.SincOrder = DFSDM_FILTER_SINC2_ORDER;
  hdfsdm1_filter0.Init.FilterParam.Oversampling = 192;
  hdfsdm1_filter0.Init.FilterParam.IntOversampling = 1;
  if (HAL_DFSDM_FilterInit(&hdfsdm1_filter0) != HAL_OK)
  {
    Error_Handler();
  }
  hdfsdm1_channel0.Instance = DFSDM1_Channel0;
  hdfsdm1_channel0.Init.OutputClock.Activation = DISABLE;
  hdfsdm1_channel0.Init.OutputClock.Selection = DFSDM_CHANNEL_OUTPUT_CLOCK_SYSTEM;
  hdfsdm1_channel0.Init.OutputClock.Divider = 2;
  hdfsdm1_channel0.Init.Input.Multiplexer = DFSDM_CHANNEL_ADC_OUTPUT;
  hdfsdm1_channel0.Init.Input.DataPacking = DFSDM_CHANNEL_STANDARD_MODE;
  hdfsdm1_channel0.Init.Input.Pins = DFSDM_CHANNEL_SAME_CHANNEL_PINS;
  hdfsdm1_channel0.Init.SerialInterface.Type = DFSDM_CHANNEL_SPI_RISING;
  hdfsdm1_channel0.Init.SerialInterface.SpiClock = DFSDM_CHANNEL_SPI_CLOCK_EXTERNAL;
  hdfsdm1_channel0.Init.Awd.FilterOrder = DFSDM_CHANNEL_FASTSINC_ORDER;
  hdfsdm1_channel0.Init.Awd.Oversampling = 1;
  hdfsdm1_channel0.Init.Offset = 0x00;
  hdfsdm1_channel0.Init.RightBitShift = 7;
  if (HAL_DFSDM_ChannelInit(&hdfsdm1_channel0) != HAL_OK)
  {
    Error_Handler();
  }
  if (HAL_DFSDM_FilterConfigRegChannel(&hdfsdm1_filter0, DFSDM_CHANNEL_0, DFSDM_CONTINUOUS_CONV_ON) != HAL_OK)
  {
    Error_Handler();
  }

}

static void MX_I2C1_Init(void)
{

  hi2c1.Instance = I2C1;
  hi2c1.Init.Timing = 0x00B03FDB;
  hi2c1.Init.OwnAddress1 = 0;
  hi2c1.Init.AddressingMode = I2C_ADDRESSINGMODE_7BIT;
  hi2c1.Init.DualAddressMode = I2C_DUALADDRESS_DISABLE;
  hi2c1.Init.OwnAddress2 = 0;
  hi2c1.Init.OwnAddress2Masks = I2C_OA2_NOMASK;
  hi2c1.Init.GeneralCallMode = I2C_GENERALCALL_DISABLE;
  hi2c1.Init.NoStretchMode = I2C_NOSTRETCH_DISABLE;
  if (HAL_I2C_Init(&hi2c1) != HAL_OK)
  {
    Error_Handler();
  }

  /** Configure Analogue filter
  */
  if (HAL_I2CEx_ConfigAnalogFilter(&hi2c1, I2C_ANALOGFILTER_ENABLE) != HAL_OK)
  {
    Error_Handler();
  }

  /** Configure Digital filter
  */
  if (HAL_I2CEx_ConfigDigitalFilter(&hi2c1, 0) != HAL_OK)
  {
    Error_Handler();
  }

}

static void MX_I2C3_Init(void)
{

  hi2c3.Instance = I2C3;
  hi2c3.Init.Timing = 0x00B03FDB;
  hi2c3.Init.OwnAddress1 = 0;
  hi2c3.Init.AddressingMode = I2C_ADDRESSINGMODE_7BIT;
  hi2c3.Init.DualAddressMode = I2C_DUALADDRESS_DISABLE;
  hi2c3.Init.OwnAddress2 = 0;
  hi2c3.Init.OwnAddress2Masks = I2C_OA2_NOMASK;
  hi2c3.Init.GeneralCallMode = I2C_GENERALCALL_DISABLE;
  hi2c3.Init.NoStretchMode = I2C_NOSTRETCH_DISABLE;
  if (HAL_I2C_Init(&hi2c3) != HAL_OK)
  {
    Error_Handler();
  }

  /** Configure Analogue filter
  */
  if (HAL_I2CEx_ConfigAnalogFilter(&hi2c3, I2C_ANALOGFILTER_ENABLE) != HAL_OK)
  {
    Error_Handler();
  }

  /** Configure Digital filter
  */
  if (HAL_I2CEx_ConfigDigitalFilter(&hi2c3, 0) != HAL_OK)
  {
    Error_Handler();
  }

}

static void MX_RTC_Init(void)
{

  RTC_TimeTypeDef sTime = {0};
  RTC_DateTypeDef sDate = {0};

  /** Initialize RTC Only
  */
  hrtc.Instance = RTC;
  hrtc.Init.HourFormat = RTC_HOURFORMAT_24;
  hrtc.Init.AsynchPrediv = 127;
  hrtc.Init.SynchPrediv = 255;
  hrtc.Init.OutPut = RTC_OUTPUT_DISABLE;
  hrtc.Init.OutPutRemap = RTC_OUTPUT_REMAP_NONE;
  hrtc.Init.OutPutPolarity = RTC_OUTPUT_POLARITY_HIGH;
  hrtc.Init.OutPutType = RTC_OUTPUT_TYPE_OPENDRAIN;
  if (HAL_RTC_Init(&hrtc) != HAL_OK)
  {
    Error_Handler();
  }

  /** Initialize RTC and set the Time and Date
  */
  sTime.Hours = 0;
  sTime.Minutes = 0;
  sTime.Seconds = 0;
  sTime.DayLightSaving = RTC_DAYLIGHTSAVING_NONE;
  sTime.StoreOperation = RTC_STOREOPERATION_RESET;
  if (HAL_RTC_SetTime(&hrtc, &sTime, RTC_FORMAT_BIN) != HAL_OK)
  {
    Error_Handler();
  }
  sDate.WeekDay = RTC_WEEKDAY_TUESDAY;
  sDate.Month = RTC_MONTH_APRIL;
  sDate.Date = 3;
  sDate.Year = 20;

  if (HAL_RTC_SetDate(&hrtc, &sDate, RTC_FORMAT_BIN) != HAL_OK)
  {
    Error_Handler();
  }

}

static void MX_SDMMC1_SD_Init(void)
{

  hsd1.Instance = SDMMC1;
  hsd1.Init.ClockEdge = SDMMC_CLOCK_EDGE_RISING;
  hsd1.Init.ClockPowerSave = SDMMC_CLOCK_POWER_SAVE_DISABLE;
  hsd1.Init.BusWide = SDMMC_BUS_WIDE_4B;
  hsd1.Init.HardwareFlowControl = SDMMC_HARDWARE_FLOW_CONTROL_DISABLE;
  hsd1.Init.ClockDiv = 0;
  hsd1.Init.Transceiver = SDMMC_TRANSCEIVER_ENABLE;

}

static void MX_SPI1_Init(void)
{

  /* SPI1 parameter configuration*/
  hspi1.Instance = SPI1;
  hspi1.Init.Mode = SPI_MODE_MASTER;
  hspi1.Init.Direction = SPI_DIRECTION_2LINES;
  hspi1.Init.DataSize = SPI_DATASIZE_8BIT;
  hspi1.Init.CLKPolarity = SPI_POLARITY_HIGH;
  hspi1.Init.CLKPhase = SPI_PHASE_2EDGE;
  hspi1.Init.NSS = SPI_NSS_SOFT;
  hspi1.Init.BaudRatePrescaler = SPI_BAUDRATEPRESCALER_16;
  hspi1.Init.FirstBit = SPI_FIRSTBIT_MSB;
  hspi1.Init.TIMode = SPI_TIMODE_DISABLE;
  hspi1.Init.CRCCalculation = SPI_CRCCALCULATION_DISABLE;
  hspi1.Init.CRCPolynomial = 7;
  hspi1.Init.CRCLength = SPI_CRC_LENGTH_DATASIZE;
  hspi1.Init.NSSPMode = SPI_NSS_PULSE_DISABLE;
  if (HAL_SPI_Init(&hspi1) != HAL_OK)
  {
    Error_Handler();
  }

}

static void MX_SPI2_Init(void)
{

  /* SPI2 parameter configuration*/
  hspi2.Instance = SPI2;
  hspi2.Init.Mode = SPI_MODE_MASTER;
  hspi2.Init.Direction = SPI_DIRECTION_2LINES;
  hspi2.Init.DataSize = SPI_DATASIZE_8BIT;
  hspi2.Init.CLKPolarity = SPI_POLARITY_LOW;
  hspi2.Init.CLKPhase = SPI_PHASE_2EDGE;
  hspi2.Init.NSS = SPI_NSS_SOFT;
  hspi2.Init.BaudRatePrescaler = SPI_BAUDRATEPRESCALER_128;
  hspi2.Init.FirstBit = SPI_FIRSTBIT_MSB;
  hspi2.Init.TIMode = SPI_TIMODE_DISABLE;
  hspi2.Init.CRCCalculation = SPI_CRCCALCULATION_DISABLE;
  hspi2.Init.CRCPolynomial = 7;
  hspi2.Init.CRCLength = SPI_CRC_LENGTH_DATASIZE;
  hspi2.Init.NSSPMode = SPI_NSS_PULSE_DISABLE;
  if (HAL_SPI_Init(&hspi2) != HAL_OK)
  {
    Error_Handler();
  }

}

static void MX_SPI3_Init(void)
{

  /* SPI3 parameter configuration*/
  hspi3.Instance = SPI3;
  hspi3.Init.Mode = SPI_MODE_MASTER;
  hspi3.Init.Direction = SPI_DIRECTION_2LINES;
  hspi3.Init.DataSize = SPI_DATASIZE_8BIT;
  hspi3.Init.CLKPolarity = SPI_POLARITY_HIGH;
  hspi3.Init.CLKPhase = SPI_PHASE_2EDGE;
  hspi3.Init.NSS = SPI_NSS_SOFT;
  hspi3.Init.BaudRatePrescaler = SPI_BAUDRATEPRESCALER_16;
  hspi3.Init.FirstBit = SPI_FIRSTBIT_MSB;
  hspi3.Init.TIMode = SPI_TIMODE_DISABLE;
  hspi3.Init.CRCCalculation = SPI_CRCCALCULATION_DISABLE;
  hspi3.Init.CRCPolynomial = 7;
  hspi3.Init.CRCLength = SPI_CRC_LENGTH_DATASIZE;
  hspi3.Init.NSSPMode = SPI_NSS_PULSE_DISABLE;
  if (HAL_SPI_Init(&hspi3) != HAL_OK)
  {
    Error_Handler();
  }

}

static void MX_TIM2_Init(void)
{

  TIM_ClockConfigTypeDef sClockSourceConfig = {0};
  TIM_MasterConfigTypeDef sMasterConfig = {0};

  htim2.Instance = TIM2;
  htim2.Init.Prescaler = 119;
  htim2.Init.CounterMode = TIM_COUNTERMODE_UP;
  htim2.Init.Period = 0xFFFFFFFF;
  htim2.Init.ClockDivision = TIM_CLOCKDIVISION_DIV1;
  htim2.Init.AutoReloadPreload = TIM_AUTORELOAD_PRELOAD_DISABLE;
  if (HAL_TIM_Base_Init(&htim2) != HAL_OK)
  {
    Error_Handler();
  }
  sClockSourceConfig.ClockSource = TIM_CLOCKSOURCE_INTERNAL;
  if (HAL_TIM_ConfigClockSource(&htim2, &sClockSourceConfig) != HAL_OK)
  {
    Error_Handler();
  }
  sMasterConfig.MasterOutputTrigger = TIM_TRGO_RESET;
  sMasterConfig.MasterSlaveMode = TIM_MASTERSLAVEMODE_DISABLE;
  if (HAL_TIMEx_MasterConfigSynchronization(&htim2, &sMasterConfig) != HAL_OK)
  {
    Error_Handler();
  }

}

static void MX_TIM6_Init(void)
{

  TIM_MasterConfigTypeDef sMasterConfig = {0};

  htim6.Instance = TIM6;
  htim6.Init.Prescaler = 119;
  htim6.Init.CounterMode = TIM_COUNTERMODE_UP;
  htim6.Init.Period = 1000;
  htim6.Init.AutoReloadPreload = TIM_AUTORELOAD_PRELOAD_DISABLE;
  if (HAL_TIM_Base_Init(&htim6) != HAL_OK)
  {
    Error_Handler();
  }
  sMasterConfig.MasterOutputTrigger = TIM_TRGO_RESET;
  sMasterConfig.MasterSlaveMode = TIM_MASTERSLAVEMODE_DISABLE;
  if (HAL_TIMEx_MasterConfigSynchronization(&htim6, &sMasterConfig) != HAL_OK)
  {
    Error_Handler();
  }

}

static void MX_TIM7_Init(void)
{

  TIM_MasterConfigTypeDef sMasterConfig = {0};

  htim7.Instance = TIM7;
  htim7.Init.Prescaler = 119;
  htim7.Init.CounterMode = TIM_COUNTERMODE_UP;
  htim7.Init.Period = 0xFFFF;
  htim7.Init.AutoReloadPreload = TIM_AUTORELOAD_PRELOAD_DISABLE;
  if (HAL_TIM_Base_Init(&htim7) != HAL_OK)
  {
    Error_Handler();
  }
  sMasterConfig.MasterOutputTrigger = TIM_TRGO_RESET;
  sMasterConfig.MasterSlaveMode = TIM_MASTERSLAVEMODE_DISABLE;
  if (HAL_TIMEx_MasterConfigSynchronization(&htim7, &sMasterConfig) != HAL_OK)
  {
    Error_Handler();
  }

}

static void MX_DMA_Init(void)
{

  /* DMA controller clock enable */
  __HAL_RCC_DMAMUX1_CLK_ENABLE();
  __HAL_RCC_DMA1_CLK_ENABLE();

  /* DMA interrupt init */
  /* DMA1_Channel4_IRQn interrupt configuration */
  HAL_NVIC_SetPriority(DMA1_Channel4_IRQn, 0, 0);
  HAL_NVIC_EnableIRQ(DMA1_Channel4_IRQn);

}

static void MX_GPIO_Init(void)
{
  GPIO_InitTypeDef GPIO_InitStruct = {0};

  /* GPIO Ports Clock Enable */
  __HAL_RCC_GPIOB_CLK_ENABLE();
  __HAL_RCC_GPIOD_CLK_ENABLE();
  __HAL_RCC_GPIOC_CLK_ENABLE();
  __HAL_RCC_GPIOE_CLK_ENABLE();
  __HAL_RCC_GPIOA_CLK_ENABLE();
  __HAL_RCC_GPIOF_CLK_ENABLE();
  __HAL_RCC_GPIOG_CLK_ENABLE();
  HAL_PWREx_EnableVddIO2();
  __HAL_RCC_GPIOH_CLK_ENABLE();

  /*Configure GPIO pin Output Level */
  HAL_GPIO_WritePin(CS_LIS2MDL_GPIO_Port, CS_LIS2MDL_Pin, GPIO_PIN_SET);

  /*Configure GPIO pin Output Level */
  HAL_GPIO_WritePin(GPIOE, SD_SEL_Pin|SD_EN_Pin|CS_LIS2DW12_Pin|CS_IIS3DHHC_Pin
                          |CS_LSM6DSOX_Pin, GPIO_PIN_SET);

  /*Configure GPIO pin Output Level */
  HAL_GPIO_WritePin(GPIOF, USER_LED_Pin|BB_MODE_Pin, GPIO_PIN_RESET);

  /*Configure GPIO pin Output Level */
  HAL_GPIO_WritePin(CHG_LED2_GPIO_Port, CHG_LED2_Pin, GPIO_PIN_SET);

  /*Configure GPIO pin Output Level */
  HAL_GPIO_WritePin(LDO_2V7_EN_GPIO_Port, LDO_2V7_EN_Pin, GPIO_PIN_SET);

  /*Configure GPIO pin Output Level */
  HAL_GPIO_WritePin(SW_SEL_GPIO_Port, SW_SEL_Pin, GPIO_PIN_RESET);

  /*Configure GPIO pin Output Level */
  HAL_GPIO_WritePin(CPU_LED_GPIO_Port, CPU_LED_Pin, GPIO_PIN_RESET);

  /*Configure GPIO pins : INT2_LSM6DSOX_Pin INT2_IIS3DHHC_Pin */
  GPIO_InitStruct.Pin = INT2_LSM6DSOX_Pin|INT2_IIS3DHHC_Pin;
  GPIO_InitStruct.Mode = GPIO_MODE_IT_RISING;
  GPIO_InitStruct.Pull = GPIO_NOPULL;
  HAL_GPIO_Init(GPIOE, &GPIO_InitStruct);

  /*Configure GPIO pins : USART2_RX_Pin USART2_TX_Pin */
  GPIO_InitStruct.Pin = USART2_RX_Pin|USART2_TX_Pin;
  GPIO_InitStruct.Mode = GPIO_MODE_AF_PP;
  GPIO_InitStruct.Pull = GPIO_NOPULL;
  GPIO_InitStruct.Speed = GPIO_SPEED_FREQ_VERY_HIGH;
  GPIO_InitStruct.Alternate = GPIO_AF7_USART2;
  HAL_GPIO_Init(GPIOD, &GPIO_InitStruct);

  /*Configure GPIO pin : CS_LIS2MDL_Pin */
  GPIO_InitStruct.Pin = CS_LIS2MDL_Pin;
  GPIO_InitStruct.Mode = GPIO_MODE_OUTPUT_OD;
  GPIO_InitStruct.Pull = GPIO_NOPULL;
  GPIO_InitStruct.Speed = GPIO_SPEED_FREQ_VERY_HIGH;
  HAL_GPIO_Init(CS_LIS2MDL_GPIO_Port, &GPIO_InitStruct);

  /*Configure GPIO pins : SD_SEL_Pin SD_EN_Pin */
  GPIO_InitStruct.Pin = SD_SEL_Pin|SD_EN_Pin;
  GPIO_InitStruct.Mode = GPIO_MODE_OUTPUT_PP;
  GPIO_InitStruct.Pull = GPIO_NOPULL;
  GPIO_InitStruct.Speed = GPIO_SPEED_FREQ_LOW;
  HAL_GPIO_Init(GPIOE, &GPIO_InitStruct);

  /*Configure GPIO pins : USER_LED_Pin BB_MODE_Pin LDO_2V7_EN_Pin */
  GPIO_InitStruct.Pin = USER_LED_Pin|BB_MODE_Pin|LDO_2V7_EN_Pin;
  GPIO_InitStruct.Mode = GPIO_MODE_OUTPUT_PP;
  GPIO_InitStruct.Pull = GPIO_NOPULL;
  GPIO_InitStruct.Speed = GPIO_SPEED_FREQ_LOW;
  HAL_GPIO_Init(GPIOF, &GPIO_InitStruct);

  /*Configure GPIO pins : CHG_LED2_Pin SW_SEL_Pin */
  GPIO_InitStruct.Pin = CHG_LED2_Pin|SW_SEL_Pin;
  GPIO_InitStruct.Mode = GPIO_MODE_OUTPUT_PP;
  GPIO_InitStruct.Pull = GPIO_NOPULL;
  GPIO_InitStruct.Speed = GPIO_SPEED_FREQ_LOW;
  HAL_GPIO_Init(GPIOG, &GPIO_InitStruct);

  /*Configure GPIO pin : CHG_LED_Pin */
  GPIO_InitStruct.Pin = CHG_LED_Pin;
  GPIO_InitStruct.Mode = GPIO_MODE_INPUT;
  GPIO_InitStruct.Pull = GPIO_NOPULL;
  HAL_GPIO_Init(CHG_LED_GPIO_Port, &GPIO_InitStruct);

  /*Configure GPIO pins : INT_LPS22HH_Pin INT2_LIS2DW12_Pin INT_HTS221_Pin */
  GPIO_InitStruct.Pin = INT_LPS22HH_Pin|INT2_LIS2DW12_Pin|INT_HTS221_Pin;
  GPIO_InitStruct.Mode = GPIO_MODE_IT_RISING;
  GPIO_InitStruct.Pull = GPIO_NOPULL;
  HAL_GPIO_Init(GPIOD, &GPIO_InitStruct);

  /*Configure GPIO pins : CS_LIS2DW12_Pin CS_IIS3DHHC_Pin CS_LSM6DSOX_Pin */
  GPIO_InitStruct.Pin = CS_LIS2DW12_Pin|CS_IIS3DHHC_Pin|CS_LSM6DSOX_Pin;
  GPIO_InitStruct.Mode = GPIO_MODE_OUTPUT_OD;
  GPIO_InitStruct.Pull = GPIO_NOPULL;
  GPIO_InitStruct.Speed = GPIO_SPEED_FREQ_VERY_HIGH;
  HAL_GPIO_Init(GPIOE, &GPIO_InitStruct);

  /*Configure GPIO pin : CPU_LED_Pin */
  GPIO_InitStruct.Pin = CPU_LED_Pin;
  GPIO_InitStruct.Mode = GPIO_MODE_OUTPUT_PP;
  GPIO_InitStruct.Pull = GPIO_NOPULL;
  GPIO_InitStruct.Speed = GPIO_SPEED_FREQ_LOW;
  HAL_GPIO_Init(CPU_LED_GPIO_Port, &GPIO_InitStruct);

  /*Configure GPIO pin : INT1_LIS2DW12_Pin */
  GPIO_InitStruct.Pin = INT1_LIS2DW12_Pin;
  GPIO_InitStruct.Mode = GPIO_MODE_IT_RISING;
  GPIO_InitStruct.Pull = GPIO_NOPULL;
  HAL_GPIO_Init(INT1_LIS2DW12_GPIO_Port, &GPIO_InitStruct);

  /*Configure GPIO pin : INT1_LSM6DSOX_Pin */
  GPIO_InitStruct.Pin = INT1_LSM6DSOX_Pin;
  GPIO_InitStruct.Mode = GPIO_MODE_IT_RISING;
  GPIO_InitStruct.Pull = GPIO_NOPULL;
  HAL_GPIO_Init(INT1_LSM6DSOX_GPIO_Port, &GPIO_InitStruct);

  /*Configure GPIO pin : SD_DETECT_Pin */
  GPIO_InitStruct.Pin = SD_DETECT_Pin;
  GPIO_InitStruct.Mode = GPIO_MODE_INPUT;
  GPIO_InitStruct.Pull = GPIO_NOPULL;
  HAL_GPIO_Init(SD_DETECT_GPIO_Port, &GPIO_InitStruct);

  /*Configure GPIO pin : USER_PB1_Pin */
  GPIO_InitStruct.Pin = USER_PB1_Pin;
  GPIO_InitStruct.Mode = GPIO_MODE_IT_FALLING;
  GPIO_InitStruct.Pull = GPIO_NOPULL;
  HAL_GPIO_Init(USER_PB1_GPIO_Port, &GPIO_InitStruct);

}

/* USER CODE BEGIN 4 */

float accMagnitude(float accX, float accY, float accZ) {
    //return sqrt(pow(accX, 2) + pow(accY, 2) + pow(accZ, 2));
	float result = sqrt(accX * accX + accY * accY + accZ * accZ);
	return result;
}

/* USER CODE END 4 */

void Error_Handler(void)
{
  __disable_irq();
  while (1)
  {
  }
}
